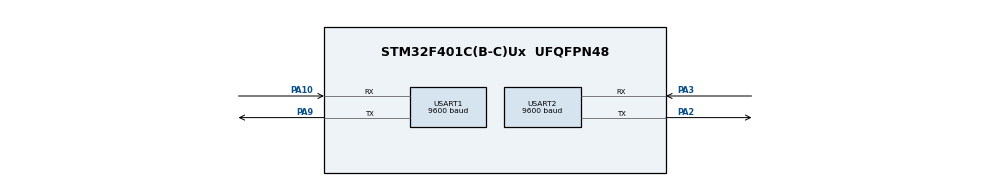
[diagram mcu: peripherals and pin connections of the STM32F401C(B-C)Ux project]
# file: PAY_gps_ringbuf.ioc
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Mcu.Family=STM32F4
Mcu.Name=STM32F401C(B-C)Ux
Mcu.Package=UFQFPN48
NVIC.PriorityGroup=NVIC_PRIORITYGROUP_4
NVIC.USART1_IRQn=true\:0\:0\:false\:false\:true\:true\:true\:true
NVIC.USART2_IRQn=true\:0\:0\:false\:false\:true\:true\:true\:true
PA10.Mode=Asynchronous
PA10.Signal=USART1_RX
PA13.Mode=Serial_Wire
PA13.Signal=SYS_JTMS-SWDIO
PA14.Mode=Serial_Wire
PA14.Signal=SYS_JTCK-SWCLK
PA2.Mode=Asynchronous
PA2.Signal=USART2_TX
PA3.Mode=Asynchronous
PA3.Signal=USART2_RX
PA9.Mode=Asynchronous
PA9.Signal=USART1_TX
PH0\ -\ OSC_IN.Mode=HSE-External-Oscillator
PH0\ -\ OSC_IN.Signal=RCC_OSC_IN
PH1\ -\ OSC_OUT.Mode=HSE-External-Oscillator
PH1\ -\ OSC_OUT.Signal=RCC_OSC_OUT
ProjectManager.HeapSize=0x200
ProjectManager.StackSize=0x400
ProjectManager.TargetToolchain=STM32CubeIDE
RCC.48MHZClocksFreq_Value=42000000
RCC.AHBFreq_Value=84000000
RCC.APB1CLKDivider=RCC_HCLK_DIV2
RCC.APB1Freq_Value=42000000
RCC.APB1TimFreq_Value=84000000
RCC.APB2Freq_Value=84000000
RCC.APB2TimFreq_Value=84000000
RCC.CortexFreq_Value=84000000
RCC.HCLKFreq_Value=84000000
RCC.HSE_VALUE=25000000
RCC.HSI_VALUE=16000000
RCC.LSE_VALUE=32768
RCC.PLLM=25
RCC.PLLN=168
RCC.PLLSourceVirtual=RCC_PLLSOURCE_HSE
RCC.SYSCLKFreq_VALUE=84000000
RCC.SYSCLKSource=RCC_SYSCLKSOURCE_PLLCLK
RCC.VCOOutputFreq_Value=168000000
USART1.BaudRate=9600
USART1.VirtualMode=VM_ASYNC
USART2.BaudRate=9600
USART2.VirtualMode=VM_ASYNC
board=custom

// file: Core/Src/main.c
/* USER CODE BEGIN Header */
/**
  ******************************************************************************
  * @file           : main.c
  * @brief          : Main program body
  ******************************************************************************
  * @attention
  *
  * Copyright (c) 2025 STMicroelectronics.
  * All rights reserved.
  *
  * This software is licensed under terms that can be found in the LICENSE file
  * in the root directory of this software component.
  * If no LICENSE file comes with this software, it is provided AS-IS.
  *
  ******************************************************************************
  */
/* USER CODE END Header */
#include "main.h"

/* USER CODE BEGIN Includes */
#include <stdio.h>
#include "uartRingBuffer.h"
#include "NMEA.h"
#include "e22900t22d.h"
#include "LORA.h"
#include <stdlib.h>  // Para rand()
/* USER CODE END Includes */
/* USER CODE END Includes */

/* USER CODE BEGIN PD */

int transmissionCounter = 0;

/* USER CODE END PD */

UART_HandleTypeDef huart1;
UART_HandleTypeDef huart2;

void SystemClock_Config(void);
static void MX_GPIO_Init(void);
static void MX_USART1_UART_Init(void);
static void MX_USART2_UART_Init(void);

/* USER CODE BEGIN PFP */
#define PUTCHAR_PROTOTYPE int __io_putchar(int ch)
/* USER CODE END PFP */

/* USER CODE BEGIN 0 */

//char GGA[200];
//char RMC[200];
////char NMEA[100];

//GPSSTRUCT gpsData;
LORA lora;
/* USER CODE END 0 */

int main(void)
{

  /* MCU Configuration--------------------------------------------------------*/

  /* Reset of all peripherals, Initializes the Flash interface and the Systick. */
  HAL_Init();

  /* Configure the system clock */
  SystemClock_Config();

  /* Initialize all configured peripherals */
  MX_GPIO_Init();
  MX_USART1_UART_Init();
  MX_USART2_UART_Init();
  /* USER CODE BEGIN 2 */

  Ringbuf_init();
  HAL_Delay(500);

  LORA_Init(&lora);
  LORA_Begin(&lora, &huart2, LORA_M0_GPIO_Port, LORA_M0_Pin,
             LORA_M1_GPIO_Port, LORA_M1_Pin);
  LORA_SetAddress(&lora, 0x000A, 0x000C);
  LORA_SetChannel(&lora, 23);

  printf("\r\n========================================\r\n");
  printf("STM32F401 LoRa + GPS Transmitter\r\n");
  printf("========================================\r\n");

  uint32_t lastTransmissionTime = 0;
  uint32_t lastTransmissionTime_SD = 0;

  /* USER CODE END 2 */

  /* Infinite loop */
  while (1)
  {

    /* USER CODE BEGIN 3 */

	    LORA_Manager(&lora);

	    // ===== TRANSMISSÃO A CADA 2 SEGUNDOS =====
	    if ((HAL_GetTick() - lastTransmissionTime) >= 2000) {
	      transmissionCounter++;

	      printf("\r\n========================================\r\n");
	      printf("TRANSMISSAO LoRa #%d\r\n", transmissionCounter);
	      printf("========================================\r\n");

	      typedef struct {
			 float time; //-> timestamp do GPS
			 float lat;
			 float lon;
			 float alt;
			 float veld; //-> taxa de perca de altitude (down velocity)
			 float veln; //-> north velocity
			 float vele; //-> east velocity
			 float yaw;
			 float pitch;
			 float roll;
			 float bar;
			 bool parachute; //-> é um booleano que indica se o paraquedas abriu o não
		 }CompactPayload;

	      // Cria payload com dados simulados (você pode usar dados reais do GPS)
	      CompactPayload payload;

	      srand(HAL_GetTick());

          // --- Preenche a struct com valores aleatórios ---

           // Gera um timestamp aleatório, por exemplo, entre 0 e 10000 segundos
           payload.time = (float)rand() / (float)(RAND_MAX / 10000.0f);

           // Gera uma latitude aleatória entre -90 e 90 graus
           payload.lat = ((float)rand() / (float)RAND_MAX) * 180.0f - 90.0f;

           // Gera uma longitude aleatória entre -180 e 180 graus
           payload.lon = ((float)rand() / (float)RAND_MAX) * 360.0f - 180.0f;

           // Gera uma altitude aleatória, por exemplo, entre 0 e 10000 metros
           payload.alt = ((float)rand() / (float)RAND_MAX) * 10000.0f;

           // Gera uma velocidade de descida aleatória, por exemplo, entre 0 e 100 m/s
           payload.veld = ((float)rand() / (float)RAND_MAX) * 100.0f;

           // Gera uma velocidade norte aleatória, por exemplo, entre -50 e 50 m/s
           payload.veln = ((float)rand() / (float)RAND_MAX) * 100.0f - 50.0f;

           // Gera uma velocidade leste aleatória, por exemplo, entre -50 e 50 m/s
           payload.vele = ((float)rand() / (float)RAND_MAX) * 100.0f - 50.0f;

           // Gera um yaw (guinada) aleatório entre 0 e 360 graus
           payload.yaw = ((float)rand() / (float)RAND_MAX) * 360.0f;

           // Gera um pitch (arfagem) aleatório entre -90 e 90 graus
           payload.pitch = ((float)rand() / (float)RAND_MAX) * 180.0f - 90.0f;

           // Gera um roll (rolagem) aleatório entre -180 e 180 graus
           payload.roll = ((float)rand() / (float)RAND_MAX) * 360.0f - 180.0f;

           // Gera uma leitura de barômetro aleatória, por exemplo, entre 950 e 1050 hPa
           payload.bar = 950.0f + ((float)rand() / (float)RAND_MAX) * 100.0f;

           // Gera um valor booleano (0 ou 1) para o paraquedas
           payload.parachute = (bool)(rand() % 2);

	      // Envia estrutura via LoRa

          LORA_SendStruct(&lora, &payload, sizeof(payload));

         /* EXEMPLO 6: Enviar para destino específico */
         // LORA_SendStringTo(&lora, "Mensagem especial", 0x000D, 15);

         /* EXEMPLO 7: Enviar dados do barômetro */
         // if (bar.is_valid) {
         //     LORA_SendFormatted(&lora, "Pressao: %.2f hPa, Alt: %.2f m",
         //                        bar.pressure_hpa, bar.altitude_m);
         // }

         printf("Timestamp: %lu ms / Tamanho: %d bytes\r\n", HAL_GetTick(), sizeof(payload));
         printf("========================================\r\n");

         HAL_GPIO_TogglePin(LED_BUILTIN_GPIO_Port, LED_BUILTIN_Pin);
         lastTransmissionTime = HAL_GetTick();
}

//	  if (Wait_for("GGA") == 1)
//	  {
//		Copy_upto("*", GGA);
//
//	    // printf("GGA: %s\r\n", GGA);
//
//		decodeGGA(GGA, &gpsData.ggastruct);
//
//		printf("================================= \r\n");
//		printf("Horário      : %02d:%02d:%02d\r\n", gpsData.ggastruct.tim.hour, gpsData.ggastruct.tim.min, gpsData.ggastruct.tim.sec);
//		printf("Latitude     : %f %c\r\n", gpsData.ggastruct.lcation.latitude, gpsData.ggastruct.lcation.NS);
//		printf("Longitude    : %f %c\r\n", gpsData.ggastruct.lcation.longitude, gpsData.ggastruct.lcation.EW);
//		printf("Altitude     : %.2f m\r\n", gpsData.ggastruct.alt.altitude);
//
//		if (gpsData.ggastruct.isfixValid)
//		{
//			printf("Fix GPS      : Válido\r\n");
//		}
//		else
//		{
//			printf("Fix GPS      : Inválido / Procurando...\r\n");
//		}
//		printf("Satélites    : %d\r\n", gpsData.ggastruct.numofsat);
//
//	  }
//
//	  if (Wait_for("RMC") == 1)
//	  {
//		Copy_upto("*", RMC);
//
//		// printf("RMC: %s\r\n", RMC);
//
//		decodeRMC(RMC, &gpsData.rmcstruct);
//
//		printf("Data         : %02d/%02d/20%02d\r\n", gpsData.rmcstruct.date.Day, gpsData.rmcstruct.date.Mon, gpsData.rmcstruct.date.Yr);
//		printf("Velocidade   : %.2f m/s\r\n\r\n", gpsData.rmcstruct.speed);
//		printf("================================= \r\n\r\n");
//	  }
//  }
  /* USER CODE END 3 */
}

static void SystemClock_Config(void)
{
  RCC_OscInitTypeDef RCC_OscInitStruct = {0};
  RCC_ClkInitTypeDef RCC_ClkInitStruct = {0};

  /** Configure the main internal regulator output voltage
  */
  __HAL_RCC_PWR_CLK_ENABLE();
  __HAL_PWR_VOLTAGESCALING_CONFIG(PWR_REGULATOR_VOLTAGE_SCALE2);

  /** Initializes the RCC Oscillators according to the specified parameters
  * in the RCC_OscInitTypeDef structure.
  */
  RCC_OscInitStruct.OscillatorType = RCC_OSCILLATORTYPE_HSE;
  RCC_OscInitStruct.HSEState = RCC_HSE_ON;
  RCC_OscInitStruct.PLL.PLLState = RCC_PLL_ON;
  RCC_OscInitStruct.PLL.PLLSource = RCC_PLLSOURCE_HSE;
  RCC_OscInitStruct.PLL.PLLM = 25;
  RCC_OscInitStruct.PLL.PLLN = 168;
  RCC_OscInitStruct.PLL.PLLP = RCC_PLLP_DIV2;
  RCC_OscInitStruct.PLL.PLLQ = 4;
  if (HAL_RCC_OscConfig(&RCC_OscInitStruct) != HAL_OK)
  {
    Error_Handler();
  }

  /** Initializes the CPU, AHB and APB buses clocks
  */
  RCC_ClkInitStruct.ClockType = RCC_CLOCKTYPE_HCLK|RCC_CLOCKTYPE_SYSCLK
                              |RCC_CLOCKTYPE_PCLK1|RCC_CLOCKTYPE_PCLK2;
  RCC_ClkInitStruct.SYSCLKSource = RCC_SYSCLKSOURCE_PLLCLK;
  RCC_ClkInitStruct.AHBCLKDivider = RCC_SYSCLK_DIV1;
  RCC_ClkInitStruct.APB1CLKDivider = RCC_HCLK_DIV2;
  RCC_ClkInitStruct.APB2CLKDivider = RCC_HCLK_DIV1;

  if (HAL_RCC_ClockConfig(&RCC_ClkInitStruct, FLASH_LATENCY_2) != HAL_OK)
  {
    Error_Handler();
  }
}

void MX_USART1_UART_Init(void)
{

  huart1.Instance = USART1;
  huart1.Init.BaudRate = 9600;
  huart1.Init.WordLength = UART_WORDLENGTH_8B;
  huart1.Init.StopBits = UART_STOPBITS_1;
  huart1.Init.Parity = UART_PARITY_NONE;
  huart1.Init.Mode = UART_MODE_TX_RX;
  huart1.Init.HwFlowCtl = UART_HWCONTROL_NONE;
  huart1.Init.OverSampling = UART_OVERSAMPLING_16;
  if (HAL_UART_Init(&huart1) != HAL_OK)
  {
    Error_Handler();
  }

}

static void MX_USART2_UART_Init(void)
{

  huart2.Instance = USART2;
  huart2.Init.BaudRate = 9600;
  huart2.Init.WordLength = UART_WORDLENGTH_8B;
  huart2.Init.StopBits = UART_STOPBITS_1;
  huart2.Init.Parity = UART_PARITY_NONE;
  huart2.Init.Mode = UART_MODE_TX_RX;
  huart2.Init.HwFlowCtl = UART_HWCONTROL_NONE;
  huart2.Init.OverSampling = UART_OVERSAMPLING_16;
  if (HAL_UART_Init(&huart2) != HAL_OK)
  {
    Error_Handler();
  }

}

static void MX_GPIO_Init(void)
{
  /* USER CODE BEGIN MX_GPIO_Init_1 */

	  GPIO_InitTypeDef GPIO_InitStruct = {0};

	  /* GPIO Ports Clock Enable */
	  __HAL_RCC_GPIOH_CLK_ENABLE();
	  __HAL_RCC_GPIOA_CLK_ENABLE();
	  __HAL_RCC_GPIOB_CLK_ENABLE();  // Se necessário

	  /* USER CODE BEGIN MX_GPIO_Init_2 */

	  // Configure pinos M0 e M1 do LoRa (ajuste conforme seu hardware)
	  // Exemplo: PA4 para M0, PA5 para M1
	  GPIO_InitStruct.Pin = GPIO_PIN_1 | GPIO_PIN_6;
	  GPIO_InitStruct.Mode = GPIO_MODE_OUTPUT_PP;
	  GPIO_InitStruct.Pull = GPIO_NOPULL;
	  GPIO_InitStruct.Speed = GPIO_SPEED_FREQ_LOW;
	  HAL_GPIO_Init(GPIOA, &GPIO_InitStruct);

  /* USER CODE END MX_GPIO_Init_1 */

  /* GPIO Ports Clock Enable */

}

/* USER CODE BEGIN 4 */

/**
  * @brief  Retargets the C library printf function to the USART.
  *   None
  * @retval None
  */
//PUTCHAR_PROTOTYPE
//{
//  /* Place your implementation of fputc here */
//  /* e.g. write a character to the USART1 and Loop until the end of transmission */
//  HAL_UART_Transmit(&huart2, (uint8_t *)&ch, 1, 0xFFFF);
//
//  return ch;
//}

/* USER CODE END 4 */

void Error_Handler(void)
{
  __disable_irq();
  while (1)
  {
  }
}
